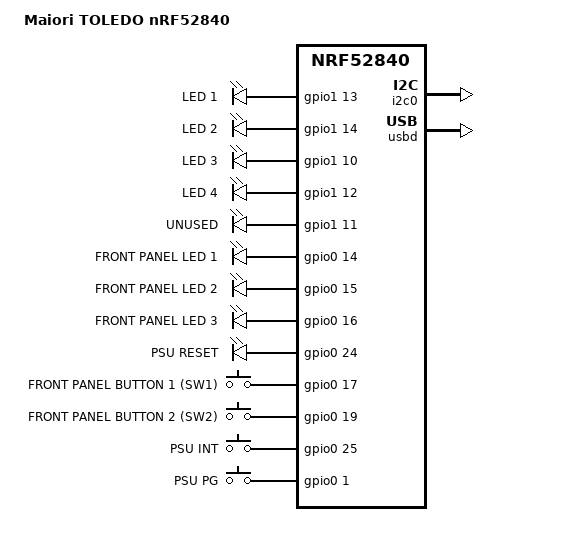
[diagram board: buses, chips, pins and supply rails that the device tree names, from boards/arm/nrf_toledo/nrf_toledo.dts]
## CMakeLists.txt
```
#
# Copyright (c) 2020 Nordic Semiconductor ASA
#
# SPDX-License-Identifier: LicenseRef-Nordic-5-Clause
#
cmake_minimum_required(VERSION 3.20.0)

set(PM_STATIC_YML_FILE
  ${CMAKE_CURRENT_SOURCE_DIR}/boards/pm_static_${BOARD}.yml
  )

find_package(Zephyr REQUIRED HINTS $ENV{ZEPHYR_BASE})
project(NONE)

# NORDIC SDK APP START
target_sources(app PRIVATE
	src/main.c
	src/model_handler.c)
target_include_directories(app PRIVATE include)
# NORDIC SDK APP END

# Preinitialization related to Thingy:53 DFU
target_sources_ifdef(CONFIG_BOARD_THINGY53_NRF5340_CPUAPP app PRIVATE
  boards/thingy53.c
)
target_sources_ifdef(CONFIG_BOARD_THINGY53_NRF5340_CPUAPP_NS app PRIVATE
  boards/thingy53.c
)
```

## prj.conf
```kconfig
#
# Copyright (c) 2020 Nordic Semiconductor ASA
#
# SPDX-License-Identifier: LicenseRef-Nordic-5-Clause
#
CONFIG_NCS_SAMPLES_DEFAULTS=y

# General configuration
CONFIG_SYSTEM_WORKQUEUE_STACK_SIZE=2048
CONFIG_FLASH=y
CONFIG_FLASH_MAP=y
CONFIG_NVS=y
CONFIG_SETTINGS=y
CONFIG_HWINFO=y
CONFIG_DK_LIBRARY=y
CONFIG_PARTITION_MANAGER_ENABLED=y
CONFIG_PM_SINGLE_IMAGE=y
CONFIG_PM_PARTITION_SIZE_SETTINGS_STORAGE=0x8000


# # Bootloader configuration
CONFIG_STREAM_FLASH=y
CONFIG_BOOTLOADER_MCUBOOT=y
CONFIG_IMG_MANAGER=y
CONFIG_MCUBOOT_IMG_MANAGER=y
CONFIG_MCUBOOT_GENERATE_CONFIRMED_IMAGE=y
CONFIG_MCUBOOT_IMGTOOL_SIGN_VERSION="1.0.0+0"
CONFIG_REBOOT=y

# Bluetooth configuration
CONFIG_BT=y
CONFIG_BT_COMPANY_ID=0x0059
CONFIG_BT_DEVICE_NAME="Maiori Toledo Light"
CONFIG_BT_L2CAP_TX_MTU=69
CONFIG_BT_L2CAP_TX_BUF_COUNT=8
CONFIG_BT_OBSERVER=y
CONFIG_BT_PERIPHERAL=y
CONFIG_BT_SETTINGS=y
CONFIG_BT_ECC=y
CONFIG_BT_TINYCRYPT_ECC=y

# Disable unused Bluetooth features
# CONFIG_BT_CTLR_DUP_FILTER_LEN=0
CONFIG_BT_CTLR_LE_ENC=n
CONFIG_BT_DATA_LEN_UPDATE=n
CONFIG_BT_PHY_UPDATE=n
CONFIG_BT_CTLR_CHAN_SEL_2=n
CONFIG_BT_CTLR_PRIVACY=n

# Bluetooth mesh configuration
CONFIG_BT_MESH=y
CONFIG_BT_MESH_V1d1=y
CONFIG_BT_MESH_RELAY=y
CONFIG_BT_MESH_FRIEND=y
CONFIG_BT_MESH_MSG_CACHE_SIZE=256
CONFIG_BT_MESH_ADV_BUF_COUNT=128
CONFIG_BT_MESH_TX_SEG_MAX=10
CONFIG_BT_MESH_RX_SEG_MAX=10
CONFIG_BT_MESH_TX_SEG_MSG_COUNT=2
CONFIG_BT_MESH_RX_SEG_MSG_COUNT=2
CONFIG_BT_MESH_PB_GATT=y
CONFIG_BT_MESH_PB_ADV=y
CONFIG_BT_MESH_GATT_PROXY=y
CONFIG_BT_MESH_DK_PROV=y
CONFIG_BT_MESH_PROXY_USE_DEVICE_NAME=y

# Bluetooth mesh models
CONFIG_BT_MESH_BLOB_SRV=y
CONFIG_BT_MESH_BLOB_IO_FLASH=y
CONFIG_BT_MESH_DFU_SRV=y
CONFIG_BT_MESH_DFU_METADATA=y
CONFIG_BT_MESH_SAR_CFG_SRV=y

# Reconfigure transport SAR for DFU
# Increase probability of delivering segmented messages
CONFIG_BT_MESH_SAR_TX_UNICAST_RETRANS_COUNT=0x5
CONFIG_BT_MESH_SAR_TX_UNICAST_RETRANS_WITHOUT_PROG_COUNT=0x3
# Reduce amount of generated SegAcks
CONFIG_BT_MESH_SAR_RX_ACK_DELAY_INC=0x7
CONFIG_BT_MESH_SAR_RX_SEG_INT_STEP=0xf
CONFIG_BT_MESH_SAR_RX_SEG_THRESHOLD=0x1f

# Debug configuration
CONFIG_BT_MESH_LOG_LEVEL_DBG=y
CONFIG_BT_MESH_MODEL_LOG_LEVEL_DBG=y
CONFIG_BT_MESH_DFU_LOG_LEVEL_DBG=y
CONFIG_BT_MESH_PROV_DEVICE_LOG_LEVEL_INF=y

# Disable unused Bluetooth features
CONFIG_BT_CTLR=y

# Bluetooth mesh models
CONFIG_BT_MESH_LIGHT_CTRL_SRV=y


# MAIORI BOARD
CONFIG_LOG=y
CONFIG_BT_LOG_LEVEL_ERR=y

CONFIG_ADC=n
CONFIG_NRFX_SAADC=y

CONFIG_I2C=y
CONFIG_PWM=y

CONFIG_NRFX_PWM0=y
CONFIG_NRFX_PWM1=y
CONFIG_NRFX_PWM2=y
CONFIG_NRFX_PWM3=y
# CONFIG_PWM_NRF5_SW=n
CONFIG_LED=y
CONFIG_LED_PWM=y
CONFIG_DEBUG_THREAD_INFO=y
CONFIG_DEBUG_OPTIMIZATIONS=y
CONFIG_SENSOR=y
CONFIG_FUEL_GAUGE=y
CONFIG_NRFX_PPI=y
CONFIG_NCS_SAMPLE_MCUMGR_BT_OTA_DFU=y
CONFIG_DFU_TARGET=y
CONFIG_NRF_FUEL_GAUGE=y
```

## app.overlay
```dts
/*
 * Copyright (c) 2022 Nordic Semiconductor ASA
 *
 * SPDX-License-Identifier: LicenseRef-Nordic-5-Clause
 */


/ {

	chosen {
		zephyr,bt-uart = &uart0;
		zephyr,bt-hci-rpmsg-ipc = &uart0;
		nordic,nus-uart = &uart0;
	};

	aliases {
		led-out1 = &pwm_led0;
		led-out2 = &pwm_led1;
		led-out3 = &pwm_led2;
		led-out4 = &pwm_led3;
	};

};

&pinctrl {
	
	i2c0_default: i2c0_default {
		group1 {
			psels = <NRF_PSEL(TWIM_SDA, 0, 26)>,
					<NRF_PSEL(TWIM_SCL, 0, 27)>;
		};
	};

	i2c0_sleep: i2c0_sleep {
		group1 {
			psels = <NRF_PSEL(TWIM_SDA, 0, 26)>,
					<NRF_PSEL(TWIM_SCL, 0, 27)>;
			low-power-enable;
		};
	};

	pwmleds {
		compatible = "pwm-leds";
		pwm_led0: pwm_led_0 {
			pwms = <&pwm0 0 PWM_MSEC(20) PWM_POLARITY_INVERTED>;
		};
		pwm_led1: pwm_led_1 {
			pwms = <&pwm0 1 PWM_MSEC(20) PWM_POLARITY_INVERTED>;
		};

		pwm_led2: pwm_led_2 {
			pwms = <&pwm0 2 PWM_MSEC(20) PWM_POLARITY_INVERTED>;
		};

		pwm_led3: pwm_led_3 {
			pwms = <&pwm0 3 PWM_MSEC(20) PWM_POLARITY_INVERTED>;
		};
	};


	pwm0_default_alt: pwm0_default_alt {
		group1 {
			psels = <NRF_PSEL(PWM_OUT0, 1, 13)>,
					<NRF_PSEL(PWM_OUT1, 1, 14)>,
					<NRF_PSEL(PWM_OUT2, 1, 10)>,
					<NRF_PSEL(PWM_OUT3, 1, 12)>;
			nordic,invert;
		};
	};

	pwm0_sleep_alt: pwm0_sleep_alt {
		group1 {
			psels = <NRF_PSEL(PWM_OUT0, 1, 13)>,
					<NRF_PSEL(PWM_OUT1, 1, 14)>,
					<NRF_PSEL(PWM_OUT2, 1, 10)>,
					<NRF_PSEL(PWM_OUT3, 1, 12)>;
			low-power-enable;
		};
	};

	/*
	pwm1_default_alt: pwm1_default_alt {
		group1 {
			psels = <NRF_PSEL(PWM_OUT1, 1, 14)>;
			nordic,invert;
		};
	};

	pwm1_sleep_alt: pwm1_sleep_alt {
		group1 {
			psels = <NRF_PSEL(PWM_OUT1, 1, 14)>;
			low-power-enable;
		};
	};

	pwm2_default_alt: pwm2_default_alt {
		group1 {
			psels = <NRF_PSEL(PWM_OUT2, 1, 10)>;
			nordic,invert;
		};
	};

	pwm2_sleep_alt: pwm2_sleep_alt {
		group1 {
			psels = <NRF_PSEL(PWM_OUT2, 1, 10)>;
			low-power-enable;
		};
	};

	pwm3_default_alt: pwm3_default_alt {
		group1 {
			psels = <NRF_PSEL(PWM_OUT3, 1, 12)>;
			nordic,invert;
		};
	};

	pwm3_sleep_alt: pwm3_sleep_alt {
		group1 {
			psels = <NRF_PSEL(PWM_OUT3, 1, 12)>;
			low-power-enable;
		};
	};
	*/
};

&i2c0 {
	compatible = "nordic,nrf-twim";
	status = "okay";
	clock-frequency = <I2C_BITRATE_FAST>; 

	pinctrl-0 = <&i2c0_default>;
	pinctrl-1 = <&i2c0_sleep>;
	pinctrl-names = "default", "sleep";

	max17048:max17048@36 {
		compatible = "maxim,max17048";
		status = "ok";
		reg = <0x36 >;
		label = "max17048";
	};

	// max17262@36 {
	// 	compatible = "maxim,max17262";
	// 	reg = <0x36>;
	// 	label = "max17262";
	// 	design-voltage = <3600>;
	// 	desired-voltage = <3600>;
	// 	desired-charging-current = <2000>;
	// 	design-cap = <2600>;
	// 	empty-voltage = <2800>;
	// 	recovery-voltage = <3880>;
	// 	charge-voltage = <3600>;
	// 	status = "okay";
	// };


};


&pwm0 {
	status = "okay";
	label = "led1out";
	pinctrl-0 = <&pwm0_default_alt>;
	pinctrl-1 = <&pwm0_sleep_alt>;
	pinctrl-names = "default", "sleep";
};

/*
&pwm1 {
	status = "okay";
	label = "led2out";
	pinctrl-0 = <&pwm1_default_alt>;
	pinctrl-1 = <&pwm1_sleep_alt>;
	pinctrl-names = "default", "sleep";
};

&pwm2 {
	status = "okay";
	label = "led3out";
	pinctrl-0 = <&pwm2_default_alt>;
	pinctrl-1 = <&pwm2_sleep_alt>;
	pinctrl-names = "default", "sleep";
};

&pwm3 {
	status = "okay";
	label = "led4out";
	pinctrl-0 = <&pwm3_default_alt>;
	pinctrl-1 = <&pwm3_sleep_alt>;
	pinctrl-names = "default", "sleep";
};
*/
```

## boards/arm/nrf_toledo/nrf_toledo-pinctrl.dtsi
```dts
/*
 * Copyright (c) 2022 Nordic Semiconductor
 * SPDX-License-Identifier: Apache-2.0
 */

&pinctrl {
	i2c0_default: i2c0_default {
		group1 {
			psels = <NRF_PSEL(TWIM_SDA, 0, 26)>,
				<NRF_PSEL(TWIM_SCL, 0, 27)>;
		};
	};

	i2c0_sleep: i2c0_sleep {
		group1 {
			psels = <NRF_PSEL(TWIM_SDA, 0, 26)>,
				<NRF_PSEL(TWIM_SCL, 0, 27)>;
			low-power-enable;
		};
	};
};
```

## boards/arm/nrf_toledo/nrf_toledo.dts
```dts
/*
 * Copyright (c) 2019 Laird Connectivity
 *
 * SPDX-License-Identifier: Apache-2.0
 */

/dts-v1/;
// #include "/home/diego/Nordic/ncs/zephyr/dts/arm/nordic/nrf52840_qiaa.dtsi"
#include <nordic/nrf52840_qiaa.dtsi>
#include "nrf_toledo-pinctrl.dtsi"

/ {
	model = "Maiori TOLEDO nRF52840";
	compatible = "nordic,nrf_toledo";

	chosen {
		zephyr,console = &uart0;
		zephyr,shell-uart = &uart0;
		zephyr,uart-mcumgr = &uart0;
		zephyr,bt-mon-uart = &uart0;
		zephyr,bt-c2h-uart = &uart0;
		zephyr,sram = &sram0;
		zephyr,flash = &flash0;
		zephyr,code-partition = &slot0_partition;
	};

	leds {
		compatible = "gpio-leds";
		led1: led_1 {
			gpios = <&gpio1 13 GPIO_ACTIVE_HIGH>;
			label = "LED 1";
		};
		led2: led_2 {
			gpios = <&gpio1 14 GPIO_ACTIVE_HIGH>;
			label = "LED 2";
		};
		led3: led_3 {
			gpios = <&gpio1 10 GPIO_ACTIVE_HIGH>;
			label = "LED 3";
		};
		led4: led_4 {
			gpios = <&gpio1 12 GPIO_ACTIVE_HIGH>;
			label = "LED 4";
		};
		led5: led_5 {
			gpios = <&gpio1 11 GPIO_ACTIVE_HIGH>;
			label = "UNUSED";
		};
		led6: led_6 {
			gpios = <&gpio0 14 GPIO_ACTIVE_HIGH>;
			label = "FRONT PANEL LED 1";
		};
		led7: led_7 {
			gpios = <&gpio0 15 GPIO_ACTIVE_HIGH>;
			label = "FRONT PANEL LED 2";
		};
		led8: led_8 {
			gpios = <&gpio0 16 GPIO_ACTIVE_HIGH>;
			label = "FRONT PANEL LED 3";
		};
		led9: led_9 {
			gpios = <&gpio0 24 GPIO_ACTIVE_HIGH>;
			label = "PSU RESET";
		};

	};
	

	buttons {
		compatible = "gpio-keys";
		button1: button_1 {
			gpios = <&gpio0 17 GPIO_PULL_DOWN>;
			label = "FRONT PANEL BUTTON 1 (SW1)";
		};
		button2: button_2 {
			gpios = <&gpio0 19 GPIO_PULL_DOWN>;
			label = "FRONT PANEL BUTTON 2 (SW2)";
		};
		button3: button_3 {
			gpios = <&gpio0 25 GPIO_PULL_DOWN>;
			label = "PSU INT";
		};
		button4: button_4 {
			gpios = <&gpio0 1 GPIO_PULL_DOWN>;
			label = "PSU PG";
		};
	};

	/* These aliases are provided for compatibility with samples */
	aliases {
		led-out1 = &led1;
		led-out2 = &led2;
		led-out3 = &led3;
		led-out4 = &led4;
		output5 = &led5;
		led-front1 = &led6;
		led-front2 = &led7;
		led-front3 = &led8;
		psu-reset = &led9;

		sw1 = &button1;
		sw2 = &button2;
		psu-int = &button3;
		psu-pg = &button4;
	};


};


&gpiote {
	status = "okay";
};

&gpio0 {
	status = "okay";
};

&gpio1 {
	status = "okay";
};


&i2c0 {
	compatible = "nordic,nrf-twi";
	status = "okay";

	pinctrl-0 = <&i2c0_default>;
	pinctrl-1 = <&i2c0_sleep>;
	pinctrl-names = "default", "sleep";
	
};



&flash0 {

	partitions {
		compatible = "fixed-partitions";
		#address-cells = <1>;
		#size-cells = <1>;

		boot_partition: partition@0 {
			label = "mcuboot";
			reg = <0x000000000 0x0000C000>;
		};
		slot0_partition: partition@c000 {
			label = "image-0";
			reg = <0x0000C000 0x00067000>;
		};
		slot1_partition: partition@73000 {
			label = "image-1";
			reg = <0x00073000 0x00067000>;
		};
		scratch_partition: partition@da000 {
			label = "image-scratch";
			reg = <0x000da000 0x0001e000>;
		};

		/*
		 * The flash starting at 0x000f8000 and ending at
		 * 0x000fffff is reserved for use by the application.
		 */

		/*
		 * Storage partition will be used by FCB/LittleFS/NVS
		 * if enabled.
		 */
		storage_partition: partition@f8000 {
			label = "storage";
			reg = <0x000f8000 0x00008000>;
		};
	};
};

zephyr_udc0: &usbd {
	compatible = "nordic,nrf-usbd";
	status = "okay";
};
```

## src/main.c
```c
/*

 TOLEDO BT MESH PROTOTYPE - NRF52840


 https://docs.zephyrproject.org/latest/samples/fuel_gauge/max17048/README.html
 

 */
#include <main.h>

// static const struct i2c_dt_spec dev_i2cpsu = I2C_DT_SPEC_GET(I2C0_NODE1);

int16_t adc_psu_stat;
int16_t adc_psu_vpd;
int16_t adc_vbat;
int16_t adc_led_det1;
int16_t adc_led_det2;
int16_t adc_led_det3;
int16_t adc_led_det4;
int16_t adc_led_det5;

uint8_t psuwr[2];


bool setPSUreg(uint8_t reg, uint8_t val)
{
	psuwr[0] = reg;
	psuwr[1] = val;
	// int err = i2c_write_dt(&dev_i2cpsu, &psuwr, 2);
	// if (err != 0)
	// {
	// 	printk("ERROR WRITING TO PSU REGISTER %x, VALUE  %x\n\r", reg, val);
	// 	return false;
	// }

	return true;
}


void button1_pressed(const struct device *dev, struct gpio_callback *cb,
					uint32_t pins)
{
	
	printk("BUTTON 1 PRESSED\n");

}

void button2_pressed(const struct device *dev, struct gpio_callback *cb,
					 uint32_t pins)
{

	printk("BUTTON 2 PRESSED\n");
}

/*
static uint32_t next_free_buf_index(void)
{
	static uint32_t buffer_index = -1;
	buffer_index = (buffer_index + 1) % SAADC_BUF_COUNT;
	return buffer_index;
}

static void timer_handler(nrf_timer_event_t event_type, void *p_context)
{
}

*/

/*
static void adcevent_handler(nrfx_saadc_evt_t const *p_event)
{
	int err_code;
	switch (p_event->type)
	{
	case NRFX_SAADC_EVT_DONE:
		printk("BATTERY CURRENT = %i\nPV VOLTAGE = %i\nVBAT = %i\nLED DRIVER 1 FB = %i\nLED DRIVER 2 FB = %i\nLED DRIVER 3 FB = %i\nLED DRIVER 4 FB = %i\nLED DRIVER 5 FB = %i\n", p_event->data.done.p_buffer[0], p_event->data.done.p_buffer[1], p_event->data.done.p_buffer[2], p_event->data.done.p_buffer[3], p_event->data.done.p_buffer[4], p_event->data.done.p_buffer[5], p_event->data.done.p_buffer[6], p_event->data.done.p_buffer[7]);

		adc_psu_stat = (int16_t)p_event->data.done.p_buffer[2];
		adc_psu_vpd = (int16_t)p_event->data.done.p_buffer[0];
		adc_vbat = (int16_t)p_event->data.done.p_buffer[1];
		adc_led_det1 = (int16_t)p_event->data.done.p_buffer[5];
		adc_led_det2 = (int16_t)p_event->data.done.p_buffer[4];
		adc_led_det3 = (int16_t)p_event->data.done.p_buffer[6];
		adc_led_det4 = (int16_t)p_event->data.done.p_buffer[7];
		adc_led_det5 = (int16_t)p_event->data.done.p_buffer[3];
		break;

	case NRFX_SAADC_EVT_BUF_REQ:
		// Set up the next available buffer
		err_code = nrfx_saadc_buffer_set(&samples[next_free_buf_index()][0], SAADC_BUF_SIZE);
		APP_ERROR_CHECK(err_code);
		break;
	default:
		NRF_LOG_INFO("SAADC evt %d", p_event->type);
		break;
	}
}

static void timer_init(void)
{
	nrfx_err_t err_code;

	nrfx_timer_config_t timer_config = NRFX_TIMER_DEFAULT_CONFIG;
	timer_config.frequency = NRF_TIMER_FREQ_31250Hz;
	err_code = nrfx_timer_init(&m_sample_timer, &timer_config, timer_handler);
	APP_ERROR_CHECK(err_code);
	nrfx_timer_extended_compare(&m_sample_timer,
								NRF_TIMER_CC_CHANNEL0,
								nrfx_timer_ms_to_ticks(&m_sample_timer, saadc_sampling_rate),
								NRF_TIMER_SHORT_COMPARE0_CLEAR_MASK,
								false);

	nrfx_timer_resume(&m_sample_timer);
}

static void ppi_init(void)
{
	// Trigger task sample from timer
	nrfx_err_t err_code = nrfx_ppi_channel_alloc(&m_timer_saadc_ppi_channel);
	APP_ERROR_CHECK(err_code);

	err_code = nrfx_ppi_channel_assign(m_timer_saadc_ppi_channel,
									   nrfx_timer_event_address_get(&m_sample_timer, NRF_TIMER_EVENT_COMPARE0),
									   nrf_saadc_task_address_get((NRF_SAADC_Type *)0x40007000, NRF_SAADC_TASK_SAMPLE));

	APP_ERROR_CHECK(err_code);

	err_code = nrfx_ppi_channel_enable(m_timer_saadc_ppi_channel);
	APP_ERROR_CHECK(err_code);
}

static void adc_configure(void)
{
	int err_code;

	nrfx_saadc_adv_config_t saadc_adv_config = NRFX_SAADC_DEFAULT_ADV_CONFIG;
	saadc_adv_config.internal_timer_cc = 0;
	saadc_adv_config.start_on_end = true;

	err_code = nrfx_saadc_init(6); // NRFX_SAADC_CONFIG_IRQ_PRIORITY
	APP_ERROR_CHECK(err_code);

	static nrfx_saadc_channel_t channel_configs[ADC_CHANNELS_IN_USE];

	uint8_t channel_mask = 0;
	for (int i = 0; i < ADC_CHANNELS_IN_USE; i++)
	{
		nrf_saadc_input_t pin = ANALOG_INPUT_MAP[i];
		// Apply default config to each channel
		nrfx_saadc_channel_t config = NRFX_SAADC_DEFAULT_CHANNEL_SE(pin, i);

		// Replace some parameters in default config
		config.channel_config.reference = NRF_SAADC_REFERENCE_VDD4;
		config.channel_config.gain = NRF_SAADC_GAIN1_4;

		// Copy to list of channel configs
		memcpy(&channel_configs[i], &config, sizeof(config));

		// Update channel mask
		channel_mask |= 1 << i;
	}

	err_code = nrfx_saadc_channels_config(channel_configs, ADC_CHANNELS_IN_USE);
	APP_ERROR_CHECK(err_code);

	err_code = nrfx_saadc_advanced_mode_set(channel_mask,
											NRF_SAADC_RESOLUTION_14BIT,
											&saadc_adv_config,
											adcevent_handler);
	APP_ERROR_CHECK(err_code);

	// Configure two buffers to ensure double buffering of samples, to avoid data loss when the sampling frequency is high
	err_code = nrfx_saadc_buffer_set(&samples[next_free_buf_index()][0], SAADC_BUF_SIZE);
	APP_ERROR_CHECK(err_code);

	err_code = nrfx_saadc_buffer_set(&samples[next_free_buf_index()][0], SAADC_BUF_SIZE);
	APP_ERROR_CHECK(err_code);

	err_code = nrfx_saadc_mode_trigger();
	APP_ERROR_CHECK(err_code);
}

*/


#define SLEEP_TIME_MS   500

int main(void)
{
	int err;

	printk("Initializing...\n");
	init_front_leds();
	// init_lamp_leds();

	set_led_status(40);
	err = bt_enable(bt_ready);
	if (err) {
		printk("Bluetooth init failed (err %d)\n", err);
	}

	// pwm_init();

	/*
		adc_configure();
		ppi_init();
		timer_init();
	*/

	k_sem_give(&ble_init_ok);

	
	set_lamp_pwm();
	
	// int ret;
	// while (1) {
	// 	ret = gpio_pin_toggle_dt(&led_lamp1);
	// 	if (ret < 0) {
	// 		return 0;
	// 	}
	// 	ret = gpio_pin_toggle_dt(&led_lamp2);
	// 	if (ret < 0) {
	// 		return 0;
	// 	}
	// 	ret = gpio_pin_toggle_dt(&led_lamp3);
	// 	if (ret < 0) {
	// 		return 0;
	// 	}
	// 	ret = gpio_pin_toggle_dt(&led_lamp4);
	// 	if (ret < 0) {
	// 		return 0;
	// 	}
	// 	k_msleep(SLEEP_TIME_MS);
	// }
	

	// if (!device_is_ready(dev_i2cpsu.bus))
	// {
	// 	printk("I2C2 bus %s is not ready!\n\r", dev_i2cpsu.bus->name);
	// }
	// else
	// {
	// 	setPSUreg(0x00, MPP2722_REG_00);
	// 	setPSUreg(0x01, MPP2722_REG_01);
	// 	setPSUreg(0x02, MPP2722_REG_02);
	// 	setPSUreg(0x03, MPP2722_REG_03);
	// 	setPSUreg(0x04, MPP2722_REG_04);
	// 	setPSUreg(0x05, MPP2722_REG_05);
	// 	setPSUreg(0x06, MPP2722_REG_06);
	// 	setPSUreg(0x07, MPP2722_REG_07);
	// 	setPSUreg(0x08, MPP2722_REG_08);
	// 	setPSUreg(0x09, MPP2722_REG_09);
	// 	setPSUreg(0x0A, MPP2722_REG_0A);
	// 	setPSUreg(0x0B, MPP2722_REG_0B);
	// 	setPSUreg(0x0C, MPP2722_REG_0C);
	// 	setPSUreg(0x0D, MPP2722_REG_0D);
	// 	setPSUreg(0x0E, MPP2722_REG_0E);
	// 	setPSUreg(0x0F, MPP2722_REG_0F);

	// }

	for (;;)
	{
		k_sleep(K_MSEC(1000));
	}
}

K_THREAD_DEFINE(ble_write_thread_id, STACKSIZE, ble_write_thread, NULL, NULL,
				NULL, PRIORITY, 0, 0);

K_THREAD_DEFINE(fuel_gauge_thread_id, STACKSIZE, read_gauge, NULL, NULL, NULL, PRIORITY, 0, 0);
```

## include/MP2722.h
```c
// MP2722
// CONFIGURATION REGISTERS

#define MPP2722_REG_00 0x4B // STAT/IB PIN AS ANALOG CURRENT INDICATOR
#define MPP2722_REG_01 0x04
#define MPP2722_REG_02 0xD9
#define MPP2722_REG_03 0x43
#define MPP2722_REG_04 0x36
#define MPP2722_REG_05 0x18
#define MPP2722_REG_06 0x24
#define MPP2722_REG_07 0x0E // WDT DISABLE
#define MPP2722_REG_08 0x3C // NO DELAY ON BATFET OFF
#define MPP2722_REG_09 0x0B
#define MPP2722_REG_0A 0x28 // 3A advertisement
#define MPP2722_REG_0B 0x10
#define MPP2722_REG_0C 0x51
#define MPP2722_REG_0D 0xF0 // REDUCE BOTH VBATT_REG AND ICC IF COOL OR WARM NTC CONDITION
#define MPP2722_REG_0E 0x99
#define MPP2722_REG_0F 0x00


// STATUS REGISTERS

#define MPP2722_REG_10 0x40
#define MPP2722_REG_11 0x00
#define MPP2722_REG_12 0x00
#define MPP2722_REG_13 0x00
#define MPP2722_REG_14 0x00
#define MPP2722_REG_15 0x00
#define MPP2722_REG_16 0x00
```

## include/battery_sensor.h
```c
#include "zephyr/sys/util.h"
#include <zephyr/kernel.h>
#include <zephyr/device.h>
#include <zephyr/devicetree.h>
#include <zephyr/drivers/fuel_gauge.h>

#ifndef FUEL_GAUGE_H
#define FUEL_GAUGE_H

int read_gauge(void);

#endif
```

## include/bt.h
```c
#ifndef BT_H
#define BT_H

#include <zephyr/bluetooth/bluetooth.h>
#include <zephyr/bluetooth/uuid.h>
#include <zephyr/bluetooth/gatt.h>
#include <zephyr/bluetooth/hci.h>
#include <bluetooth/mesh/models.h>
#include <bluetooth/mesh/dk_prov.h>
#include <dk_buttons_and_leds.h>
#include "model_handler.h"
#include "lc_pwm_led.h"

static K_SEM_DEFINE(ble_init_ok, 0, 1);

void bt_ready(int err);
void ble_write_thread(void);

#endif
```

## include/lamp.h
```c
#include <zephyr/drivers/gpio.h>
#include <zephyr/kernel.h>
#include <zephyr/sys/printk.h>
#include <zephyr/device.h>
#include <zephyr/drivers/pwm.h>

#define LED_OUT1 DT_ALIAS(led_out1)
#define LED_OUT2 DT_ALIAS(led_out2)
#define LED_OUT3 DT_ALIAS(led_out3)
#define LED_OUT4 DT_ALIAS(led_out4)

// #ifndef LAMP_H
// #define LAMP_H

// static const struct gpio_dt_spec led_lamp1 = GPIO_DT_SPEC_GET(LED_OUT1, gpios);
// static const struct gpio_dt_spec led_lamp2 = GPIO_DT_SPEC_GET(LED_OUT2, gpios);
// static const struct gpio_dt_spec led_lamp3 = GPIO_DT_SPEC_GET(LED_OUT3, gpios);
// static const struct gpio_dt_spec led_lamp4 = GPIO_DT_SPEC_GET(LED_OUT4, gpios);

static const struct pwm_dt_spec led_lamp1 = PWM_DT_SPEC_GET(LED_OUT1);
static const struct pwm_dt_spec led_lamp2 = PWM_DT_SPEC_GET(LED_OUT2);
static const struct pwm_dt_spec led_lamp3 = PWM_DT_SPEC_GET(LED_OUT3);
static const struct pwm_dt_spec led_lamp4 = PWM_DT_SPEC_GET(LED_OUT4);

// int set_lamp(uint16_t state);
// int init_lamp_leds(void);
int set_lamp_pwm(void);


// #endif
```

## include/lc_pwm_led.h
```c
/*
 * Copyright (c) 2020 Nordic Semiconductor ASA
 *
 * SPDX-License-Identifier: LicenseRef-Nordic-5-Clause
 */

/**
 * @file
 * @brief Lc pwm led module
 */




#ifndef LC_PWM_LED_H__
#define LC_PWM_LED_H__

#include <nrf.h>
#include <nrfx.h>
#include <nrfx_saadc.h>
#include <nrfx_timer.h>
#include <nrfx_ppi.h>
#include <zephyr/types.h>
#include <bluetooth/mesh/models.h>
#include <dk_buttons_and_leds.h>
#include "model_handler.h"
#include <zephyr/drivers/pwm.h>

#ifdef __cplusplus
extern "C" {
#endif

void pwm_init(void);

void lc_pwm_led_init(void);

void lc_pwm_led_set(uint16_t desired_lvl);

#ifdef __cplusplus
}
#endif

#endif /* LC_PWM_LED_H__ */
```

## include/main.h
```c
#include <zephyr/kernel.h>
#include <zephyr/sys/printk.h>
#include <zephyr/drivers/i2c.h>

#include <soc.h>
#include <zephyr/types.h>
#include <stdio.h>
#include <string.h>
#include <stdint.h>
#include <stddef.h>
#include <stdbool.h>
#include <limits.h>

#include <zephyr/bluetooth/bluetooth.h>
#include <zephyr/bluetooth/uuid.h>
#include <zephyr/bluetooth/gatt.h>
#include <zephyr/bluetooth/hci.h>
#include <bluetooth/mesh/models.h>
#include <bluetooth/mesh/dk_prov.h>
#include <dk_buttons_and_leds.h>
#include "model_handler.h"
#include "lc_pwm_led.h"


#include <zephyr/device.h>
#include <zephyr/devicetree.h>

#include <zephyr/drivers/gpio.h>
#include <zephyr/drivers/sensor.h>
// #include <zephyr/drivers/pwm.h>
#include <nrfx_pwm.h>

#include "string.h"

#include <stdbool.h>
#include <stdint.h>

// #include "nrf_delay.h"
// #include "nrf_log.h"
// #include "nrf_log_ctrl.h"
// #include "nrf_log_default_backends.h"

#include <zephyr/drivers/flash.h>
#include <zephyr/storage/flash_map.h>
#include <zephyr/fs/nvs.h>
#include "zephyr/sys/util.h"
#include <zephyr/kernel.h>
#include <zephyr/device.h>
#include <zephyr/devicetree.h>

#include <battery_sensor.h>
#include <lc_pwm_led.h>


#define PWM_PERIOD 1024
/*
#define PWM_LED0_NODE DT_ALIAS(&pwmleds)

#if DT_NODE_HAS_STATUS(PWM_LED0_NODE, okay)
static const struct pwm_dt_spec led0 = PWM_DT_SPEC_GET(PWM_LED0_NODE);
#else
#error "Unsupported board: pwm-led0 devicetree alias is not defined"
#endif
*/



#define PWM_COUNTERTOP 100

#define STACKSIZE 1024
#define PRIORITY 7

#define DEVICE_NAME CONFIG_BT_DEVICE_NAME
#define DEVICE_NAME_LEN	(sizeof(DEVICE_NAME) - 1)

// #define I2C0_NODE1 DT_NODELABEL(mp2722)

#define STORAGE_NODE_LABEL storage
#define LONG_ID 1

/*
#define ADC_CHANNELS_IN_USE 8
#define SAADC_BUF_SIZE ADC_CHANNELS_IN_USE
#define SAADC_BUF_COUNT 2
#define SAADC_SAMPLE_FREQUENCY 8000


static nrf_saadc_value_t samples[SAADC_BUF_COUNT][SAADC_BUF_SIZE];
static nrfx_timer_t m_sample_timer = NRFX_TIMER_INSTANCE(1);
static nrf_ppi_channel_t m_timer_saadc_ppi_channel;
static nrf_ppi_channel_t m_saadc_internal_ppi_channel;
static const uint32_t saadc_sampling_rate = 1000; // milliseconds (ms)

static const nrf_saadc_input_t ANALOG_INPUT_MAP[ADC_CHANNELS_IN_USE] = {
	NRF_SAADC_INPUT_AIN0, NRF_SAADC_INPUT_AIN1, NRF_SAADC_INPUT_AIN2, NRF_SAADC_INPUT_AIN3,
	NRF_SAADC_INPUT_AIN4, NRF_SAADC_INPUT_AIN5, NRF_SAADC_INPUT_AIN6, NRF_SAADC_INPUT_AIN7};
*/

#include <bt.h>

// ------------------------------- LEDS DEFINES --------------------------------------
#include "lamp.h" 
#include "status_led.h"
// ------------------------------- ------------ --------------------------------------
```

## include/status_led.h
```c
#include <zephyr/drivers/gpio.h>

#ifndef STATUS_LED_H
#define STATUS_LED_H

#define LED_FRONT1 DT_ALIAS(led_front1)
#define LED_FRONT2 DT_ALIAS(led_front2)
#define LED_FRONT3 DT_ALIAS(led_front3)

static const struct gpio_dt_spec led_front1 = GPIO_DT_SPEC_GET(LED_FRONT1, gpios);
static const struct gpio_dt_spec led_front2 = GPIO_DT_SPEC_GET(LED_FRONT2, gpios);
static const struct gpio_dt_spec led_front3 = GPIO_DT_SPEC_GET(LED_FRONT3, gpios);

int init_front_leds(void);
int set_led_status(int level);

#endif
```

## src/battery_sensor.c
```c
#include <battery_sensor.h>

int read_gauge(void) {
    const struct device *const dev = DEVICE_DT_GET_ANY(max17048);
	int ret = 0;

	if (dev == NULL) {
		printk("\nError: no device found.\n");
		return 0;
	}

	if (!device_is_ready(dev)) {
		printk("\nError: Device \"%s\" is not ready; "
		       "check the driver initialization logs for errors.\n",
		       dev->name);
		return 0;
	}



	printk("Found device \"%s\", getting fuel gauge data\n", dev->name);

	if (dev == NULL) {
		return 0;
	}

	while (1) {

		struct fuel_gauge_get_property vals[] = {
			{property_type: FUEL_GAUGE_VOLTAGE},
			{property_type: FUEL_GAUGE_RUNTIME_TO_EMPTY}, 
			{property_type: FUEL_GAUGE_RUNTIME_TO_FULL},
			{property_type: FUEL_GAUGE_RELATIVE_STATE_OF_CHARGE},
		};

		ret = fuel_gauge_get_prop(dev, vals, ARRAY_SIZE(vals));
		if (ret < 0) {
			printk("Error: cannot get properties\n");
		} else {
			printk("Time to empty %d\n", vals[0].value.runtime_to_empty);

			printk("Time to full %d\n", vals[1].value.runtime_to_full);

			printk("Charge %d%%\n", vals[2].value.relative_state_of_charge);

			printk("Voltage %d\n", vals[3].value.voltage);
		}

		k_sleep(K_MSEC(5000));
	}
}
```

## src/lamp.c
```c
#include <lamp.h>

#define MIN_PERIOD PWM_SEC(1U) / 128U
#define MAX_PERIOD PWM_SEC(1U)

// int set_lamp(uint16_t state) {
//     int ret;
//     ret = gpio_pin_set_dt(&led_lamp1, state);
//     if (ret < 0) {
//         return 0;
//     }
//     ret = gpio_pin_set_dt(&led_lamp2, state);
//     if (ret < 0) {
//         return 0;
//     }
//     ret = gpio_pin_set_dt(&led_lamp3, state);
//     if (ret < 0) {
//         return 0;
//     }
//     ret = gpio_pin_set_dt(&led_lamp4, state);
//     if (ret < 0) {
//         return 0;
//     }
//     return ret;
// }

// int init_lamp_leds(void) {
// 	int ret;
// 	if (
// 		!gpio_is_ready_dt(&led_lamp1) &&
// 		!gpio_is_ready_dt(&led_lamp2) &&
// 		!gpio_is_ready_dt(&led_lamp3) &&
// 		!gpio_is_ready_dt(&led_lamp4)
// 	) {
// 		return 0;
// 	}

// 	ret = gpio_pin_configure_dt(&led_lamp1, GPIO_OUTPUT_ACTIVE);
// 	if (ret < 0) {
// 		return 0;
// 	}
// 	ret = gpio_pin_configure_dt(&led_lamp2, GPIO_OUTPUT_ACTIVE);
// 	if (ret < 0) {
// 		return 0;
// 	}
// 	ret = gpio_pin_configure_dt(&led_lamp3, GPIO_OUTPUT_ACTIVE);
// 	if (ret < 0) {
// 		return 0;
// 	}
// 	ret = gpio_pin_configure_dt(&led_lamp4, GPIO_OUTPUT_ACTIVE);
// 	if (ret < 0) {
// 		return 0;
// 	}
// 	return ret;
// }

int init_lamp_leds_pwm(void) {
	if (!pwm_is_ready_dt(&led_lamp1)) {
		printk("Error: PWM device %s is not ready\n",
		       led_lamp1.dev->name);
		return 0;
	}
	if (!pwm_is_ready_dt(&led_lamp2)) {
		printk("Error: PWM device %s is not ready\n",
		       led_lamp2.dev->name);
		return 0;
	}
	if (!pwm_is_ready_dt(&led_lamp3)) {
		printk("Error: PWM device %s is not ready\n",
		       led_lamp3.dev->name);
		return 0;
	}
	if (!pwm_is_ready_dt(&led_lamp4)) {
		printk("Error: PWM device %s is not ready\n",
		       led_lamp4.dev->name);
		return 0;
	}
	return 1;
}

int set_lamp_pwm() {
	uint32_t max_period;
	uint32_t period;
	uint8_t dir = 0U;
	int ret;

	init_lamp_leds_pwm();

	printk("Calibrating for channel %d...\n", led_lamp1.channel);
	max_period = MAX_PERIOD;
	while (pwm_set_dt(&led_lamp1, max_period, max_period / 2U)) {
		max_period /= 2U;
		if (max_period < (4U * MIN_PERIOD)) {
			printk("Error: PWM device "
			       "does not support a period at least %lu\n",
			       4U * MIN_PERIOD);
			return 0;
		}
	}

	printk("Done calibrating; maximum/minimum periods %u/%lu nsec\n",
	       max_period, MIN_PERIOD);

	period = max_period;
	while (1) {
		ret = pwm_set_dt(&led_lamp1, period, period / 2U);
		if (ret) {
			printk("Error %d: failed to set pulse width\n", ret);
			return 0;
		}

		period = dir ? (period * 2U) : (period / 2U);
		if (period > max_period) {
			period = max_period / 2U;
			dir = 0U;
		} else if (period < MIN_PERIOD) {
			period = MIN_PERIOD * 2U;
			dir = 1U;
		}

		k_sleep(K_SECONDS(4U));
	}
	return 0;
}
```

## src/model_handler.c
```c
/*
 * Copyright (c) 2020 Nordic Semiconductor ASA
 *
 * SPDX-License-Identifier: LicenseRef-Nordic-5-Clause
 */

#include <zephyr/bluetooth/bluetooth.h>
#include <bluetooth/mesh/models.h>
#include <dk_buttons_and_leds.h>
#include "model_handler.h"
#include "lc_pwm_led.h"
#include <lamp.h>

#define PWM_SIZE_STEP 512

struct lightness_ctx {
	struct bt_mesh_lightness_srv lightness_srv;
	struct k_work_delayable per_work;
	uint16_t target_lvl;
	uint16_t current_lvl;
	uint32_t time_per;
	uint32_t rem_time;
};

/* Set up a repeating delayed work to blink the DK's LEDs when attention is
 * requested.
 */
static struct k_work_delayable attention_blink_work;
static bool attention;

static void attention_blink(struct k_work *work)
{
	static int idx;
	const uint8_t pattern[] = {
#if DT_NODE_EXISTS(DT_ALIAS(led_out1))
		BIT(0),
#endif
#if DT_NODE_EXISTS(DT_ALIAS(led_out2))
		BIT(1),
#endif
#if DT_NODE_EXISTS(DT_ALIAS(led_out3))
		BIT(2),
#endif
#if DT_NODE_EXISTS(DT_ALIAS(led_out4))
		BIT(3),
#endif
	};

	if (attention) {
		dk_set_leds(pattern[idx++ % ARRAY_SIZE(pattern)]);
		k_work_reschedule(&attention_blink_work, K_MSEC(30));
	} else {
		dk_set_leds(DK_NO_LEDS_MSK);
	}
}

static void attention_on(struct bt_mesh_model *mod)
{
	attention = true;
	k_work_reschedule(&attention_blink_work, K_NO_WAIT);
}

static void attention_off(struct bt_mesh_model *mod)
{
	/* Will stop rescheduling blink timer */
	attention = false;
}

static const struct bt_mesh_health_srv_cb health_srv_cb = {
	.attn_on = attention_on,
	.attn_off = attention_off,
};

static struct bt_mesh_health_srv health_srv = {
	.cb = &health_srv_cb,
};

BT_MESH_HEALTH_PUB_DEFINE(health_pub, 0);

static void start_new_light_trans(const struct bt_mesh_lightness_set *set,
				  struct lightness_ctx *ctx)
{
	uint32_t step_cnt = abs(set->lvl - ctx->current_lvl) / PWM_SIZE_STEP;
	uint32_t time = set->transition ? set->transition->time : 0;
	uint32_t delay = set->transition ? set->transition->delay : 0;

	ctx->target_lvl = set->lvl;
	ctx->time_per = (step_cnt ? time / step_cnt : 0);
	ctx->rem_time = time;
	k_work_reschedule(&ctx->per_work, K_MSEC(delay));

	printk("New light transition-> Lvl: %d, Time: %d, Delay: %d\n",
	       set->lvl, time, delay);
}

static void periodic_led_work(struct k_work *work)
{
	struct lightness_ctx *l_ctx =
		CONTAINER_OF(work, struct lightness_ctx, per_work);
	l_ctx->rem_time -= l_ctx->time_per;

	if ((l_ctx->rem_time <= l_ctx->time_per) ||
	    (abs(l_ctx->target_lvl - l_ctx->current_lvl) <= PWM_SIZE_STEP)) {
		struct bt_mesh_lightness_status status = {
			.current = l_ctx->target_lvl,
			.target = l_ctx->target_lvl,
		};

		l_ctx->current_lvl = l_ctx->target_lvl;
		l_ctx->rem_time = 0;

		bt_mesh_lightness_srv_pub(&l_ctx->lightness_srv, NULL, &status);

		goto apply_and_print;
	} else if (l_ctx->target_lvl > l_ctx->current_lvl) {
		l_ctx->current_lvl += PWM_SIZE_STEP;
	} else {
		l_ctx->current_lvl -= PWM_SIZE_STEP;
	}

	k_work_reschedule(&l_ctx->per_work, K_MSEC(l_ctx->time_per));
apply_and_print:
	lc_pwm_led_set(l_ctx->current_lvl);
	// set_lamp(l_ctx->current_lvl);
	printk("Current light lvl: %u/65535\n", l_ctx->current_lvl);
}

static void light_set(struct bt_mesh_lightness_srv *srv,
		      struct bt_mesh_msg_ctx *ctx,
		      const struct bt_mesh_lightness_set *set,
		      struct bt_mesh_lightness_status *rsp)
{
	struct lightness_ctx *l_ctx =
		CONTAINER_OF(srv, struct lightness_ctx, lightness_srv);

	start_new_light_trans(set, l_ctx);
	rsp->current = l_ctx->current_lvl;
	rsp->target = l_ctx->target_lvl;
	rsp->remaining_time = set->transition ? set->transition->time : 0;
}

static void light_get(struct bt_mesh_lightness_srv *srv,
		      struct bt_mesh_msg_ctx *ctx,
		      struct bt_mesh_lightness_status *rsp)
{
	struct lightness_ctx *l_ctx =
		CONTAINER_OF(srv, struct lightness_ctx, lightness_srv);

	rsp->current = l_ctx->current_lvl;
	rsp->target = l_ctx->target_lvl;
	rsp->remaining_time = l_ctx->rem_time;
}

static const struct bt_mesh_lightness_srv_handlers lightness_srv_handlers = {
	.light_set = light_set,
	.light_get = light_get,
};

static struct lightness_ctx my_ctx = {
	.lightness_srv = BT_MESH_LIGHTNESS_SRV_INIT(&lightness_srv_handlers),

};

static struct bt_mesh_light_ctrl_srv light_ctrl_srv =
	BT_MESH_LIGHT_CTRL_SRV_INIT(&my_ctx.lightness_srv);

static struct bt_mesh_elem elements[] = {
	BT_MESH_ELEM(1,
		     BT_MESH_MODEL_LIST(
			     BT_MESH_MODEL_CFG_SRV,
			     BT_MESH_MODEL_HEALTH_SRV(&health_srv, &health_pub),
			     BT_MESH_MODEL_LIGHTNESS_SRV(
					 &my_ctx.lightness_srv)),
		     BT_MESH_MODEL_NONE),
	BT_MESH_ELEM(2,
		     BT_MESH_MODEL_LIST(
			     BT_MESH_MODEL_LIGHT_CTRL_SRV(&light_ctrl_srv)),
		     BT_MESH_MODEL_NONE),
};

static const struct bt_mesh_comp comp = {
	.cid = CONFIG_BT_COMPANY_ID,
	.elem = elements,
	.elem_count = ARRAY_SIZE(elements),
};

const struct bt_mesh_comp *model_handler_init(void)
{
	k_work_init_delayable(&attention_blink_work, attention_blink);
	k_work_init_delayable(&my_ctx.per_work, periodic_led_work);

	return &comp;
}

void model_handler_start(void)
{
	int err;

	if (bt_mesh_is_provisioned()) {
		return;
	}

	err = bt_mesh_light_ctrl_srv_enable(&light_ctrl_srv);
	if (!err) {
		printk("Successfully enabled LC server\n");
	}
}
```

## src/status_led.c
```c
#include <status_led.h>

int init_front_leds(void) {
	int ret = 1;
	if (!gpio_is_ready_dt(&led_front1) && !gpio_is_ready_dt(&led_front2) && !gpio_is_ready_dt(&led_front3)) {
		return 0;
	}

	ret = gpio_pin_configure_dt(&led_front1, GPIO_OUTPUT_ACTIVE);
	if (ret < 0) {
		return 0;
	}
	ret = gpio_pin_configure_dt(&led_front2, GPIO_OUTPUT_ACTIVE);
	if (ret < 0) {
		return 0;
	}
	ret = gpio_pin_configure_dt(&led_front3, GPIO_OUTPUT_ACTIVE);
	if (ret < 0) {
		return 0;
	}

	ret = gpio_pin_set_dt(&led_front1, 0);
	if (ret < 0) {
		return 0;
	}
	ret = gpio_pin_set_dt(&led_front2, 0);
	if (ret < 0) {
		return 0;
	}
	ret = gpio_pin_set_dt(&led_front3, 0);
	if (ret < 0) {
		return 0;
	}

	return ret;
}

int set_led_status(int bat_level) {
    int ret = 1;

    if (bat_level >= 0 && bat_level <= 30) {
        ret = gpio_pin_set_dt(&led_front1, 1);
        if (ret < 0) {
            return 0;
        }
        ret = gpio_pin_set_dt(&led_front2, 0);
        if (ret < 0) {
            return 0;
        }
        ret = gpio_pin_set_dt(&led_front3, 0);
        if (ret < 0) {
            return 0;
        }
    } else if (bat_level > 30 && bat_level <= 60) {
        ret = gpio_pin_set_dt(&led_front1, 1);
        if (ret < 0) {
            return 0;
        }
        ret = gpio_pin_set_dt(&led_front2, 1);
        if (ret < 0) {
            return 0;
        }
        ret = gpio_pin_set_dt(&led_front3, 0);
        if (ret < 0) {
            return 0;
        }
    } else if (bat_level > 60 && bat_level <= 100) {
        ret = gpio_pin_set_dt(&led_front1, 1);
        if (ret < 0) {
            return 0;
        }
        ret = gpio_pin_set_dt(&led_front2, 1);
        if (ret < 0) {
            return 0;
        }
        ret = gpio_pin_set_dt(&led_front3, 1);
        if (ret < 0) {
            return 0;
        }
    }
    return ret;
}
```
